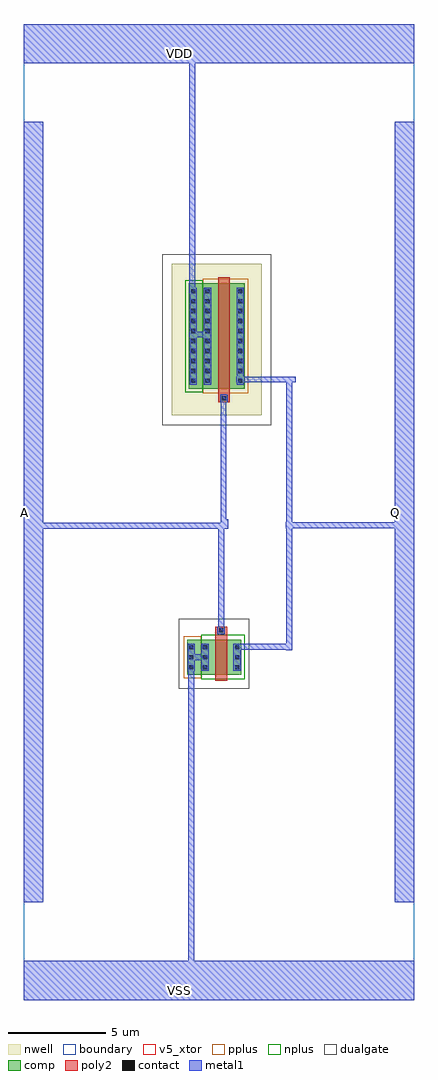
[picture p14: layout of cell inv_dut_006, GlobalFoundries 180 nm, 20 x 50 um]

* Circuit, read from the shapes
.subckt inv_dut_006 A Q VDD VSS
XM1 Q A VSS VSS nfet_05v0 w=1.8u l=0.6u
XM2 Q A VDD VDD pfet_05v0 w=5.4u l=0.6u
.ends

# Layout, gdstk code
from math import pi, radians
import gdstk
lib = gdstk.Library(unit=1e-6, precision=1e-09)
def R(c, l, rs):  # rectangles x0, y0, x1, y1
    for r in rs: c.add(gdstk.rectangle(r[:2], r[2:], *l))
def A(c, l, x, y, w, h, nx, ny, dx, dy):  # array of equal rectangles
    R(c, l, [(x+i*dx, y+j*dy, x+i*dx+w, y+j*dy+h) for i in range(nx) for j in range(ny)])
boundary = (0, 0)
nwell = (21, 0)
comp = (22, 0)
poly2 = (30, 0)
pplus = (31, 0)
nplus = (32, 0)
contact = (33, 0)
metal1 = (34, 0)
dualgate = (55, 0)
v5_xtor = (112, 1)

nfet_14 = lib.new_cell('nfet$14')
R(nfet_14, comp, [(-0.42,0,2.35,1.8)])
R(nfet_14, poly2, [(0.31,-0.3,0.91,2.46)])
R(nfet_14, pplus, [(1.64,-0.17,2.52,1.97)])
R(nfet_14, nplus, [(-0.59,-0.24,1.64,2.04)])
A(nfet_14, contact, -0.32, 0.28, 0.22, 0.22, 1, 3, 0, 0.51)
A(nfet_14, contact, 1.32, 0.28, 0.22, 0.22, 1, 3, 0, 0.51)
A(nfet_14, contact, 2.03, 0.28, 0.22, 0.22, 1, 3, 0, 0.51)
R(nfet_14, contact, [(0.5,2.17,0.72,2.39)])
R(nfet_14, metal1, [(-0.4,0.2,-0.02,1.6), (1.24,0.2,1.62,1.6), (1.95,0.2,2.33,1.6), (0.42,2.09,0.8,2.47)])
R(nfet_14, dualgate, [(-0.84,-0.71,2.77,2.88)])
R(nfet_14, v5_xtor, [(-0.84,-0.71,2.77,2.88)])

pfet_8 = lib.new_cell('pfet$8')
R(pfet_8, nwell, [(-1.32,-1.37,3.27,6.39)])
R(pfet_8, comp, [(-0.46,0,2.41,5.4)])
R(pfet_8, poly2, [(0.31,-0.68,0.91,5.7)])
R(pfet_8, pplus, [(-0.63,-0.24,1.68,5.64)])
R(pfet_8, nplus, [(1.68,-0.17,2.58,5.57)])
A(pfet_8, contact, -0.34, 0.295, 0.22, 0.22, 1, 10, 0, 0.51)
A(pfet_8, contact, 1.34, 0.295, 0.22, 0.22, 1, 10, 0, 0.51)
A(pfet_8, contact, 2.07, 0.295, 0.22, 0.22, 1, 10, 0, 0.51)
R(pfet_8, contact, [(0.5,-0.6,0.72,-0.38)])
R(pfet_8, metal1, [(0.42,-0.68,0.8,-0.3), (-0.42,0.215,-0.04,5.185), (1.26,0.215,1.64,5.185), (1.99,0.215,2.37,5.185)])
R(pfet_8, dualgate, [(-1.82,-1.87,3.77,6.89)])
R(pfet_8, v5_xtor, [(-1.82,-1.87,3.77,6.89)])

inv_dut_006 = lib.new_cell('inv_dut_006')
R(inv_dut_006, boundary, [(-10,-25,10,25)])
R(inv_dut_006, metal1, [(-10,-25,10,-23), (-10,-20,-9,20), (9,-20,10,20), (-10,23,10,25)])
inv_dut_006.add(gdstk.FlexPath([(-1.52,9.09),(-0.415,9.09)], 0.3, ends="flush", simple_path=True, layer=34, datatype=0))  # metal1
inv_dut_006.add(gdstk.FlexPath([(-1.605,-7.44),(-0.54,-7.44)], 0.3, ends="flush", simple_path=True, layer=34, datatype=0))  # metal1
inv_dut_006.add(gdstk.FlexPath([(0.23,6.035),(0.23,-0.53),(0.465,-0.53)], 0.3, ends="flush", simple_path=True, layer=34, datatype=0))  # metal1
inv_dut_006.add(gdstk.FlexPath([(-1.43,-7.84),(-1.43,-23.495)], 0.3, ends="flush", simple_path=True, layer=34, datatype=0))  # metal1
inv_dut_006.add(gdstk.FlexPath([(-1.365,11.195),(-1.365,23.495)], 0.3, ends="flush", simple_path=True, layer=34, datatype=0))  # metal1
inv_dut_006.add(gdstk.FlexPath([(0.115,-6.265),(0.115,-0.71)], 0.3, ends="flush", simple_path=True, layer=34, datatype=0))  # metal1
inv_dut_006.add(gdstk.FlexPath([(0.475,-0.705),(-9.64,-0.705)], 0.3, ends="flush", simple_path=True, layer=34, datatype=0))  # metal1
inv_dut_006.add(gdstk.FlexPath([(0.77,-6.91),(3.76,-6.91)], 0.3, ends="flush", simple_path=True, layer=34, datatype=0))  # metal1
inv_dut_006.add(gdstk.FlexPath([(0.895,6.79),(3.785,6.79),(3.785,6.655),(3.785,6.655)], 0.3, ends="flush", simple_path=True, layer=34, datatype=0))  # metal1
inv_dut_006.add(gdstk.FlexPath([(3.6,6.925),(3.6,-7.085)], 0.3, ends="flush", simple_path=True, layer=34, datatype=0))  # metal1
inv_dut_006.add(gdstk.FlexPath([(3.41,-0.675),(9.44,-0.675)], 0.3, ends="flush", simple_path=True, layer=34, datatype=0))  # metal1
inv_dut_006.add(gdstk.Reference(nfet_14, (0.72,-8.34), rotation=pi, x_reflection=True))
inv_dut_006.add(gdstk.Reference(pfet_8, (0.86,6.315), rotation=pi, x_reflection=True))
inv_dut_006.add(gdstk.Label('VDD', (-2,23.5), layer=34, texttype=10))
inv_dut_006.add(gdstk.Label('VSS', (-2,-24.5), layer=34, texttype=10))
inv_dut_006.add(gdstk.Label('A', (-9.97,0), layer=34, texttype=10))
inv_dut_006.add(gdstk.Label('Q', (9.03,0), layer=34, texttype=10))

lib.write_gds('inv_dut_006.gds')
